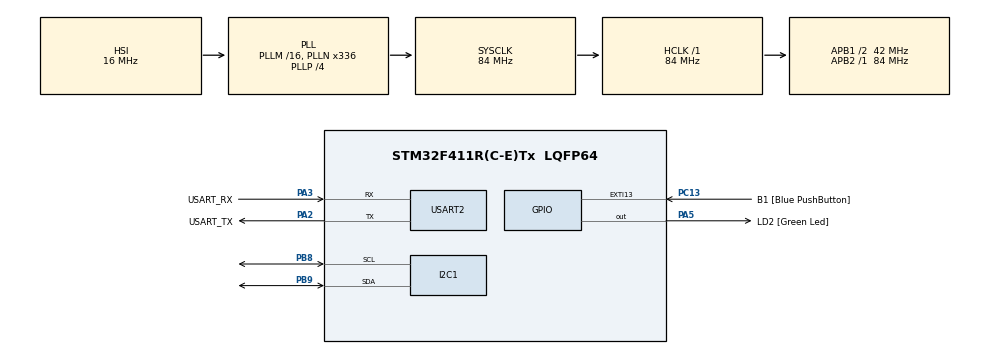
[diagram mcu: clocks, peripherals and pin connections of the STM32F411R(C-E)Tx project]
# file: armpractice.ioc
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Mcu.Family=STM32F4
Mcu.Name=STM32F411R(C-E)Tx
Mcu.Package=LQFP64
NVIC.PriorityGroup=NVIC_PRIORITYGROUP_0
PA13.GPIO_Label=TMS
PA13.Mode=Serial_Wire
PA13.Signal=SYS_JTMS-SWDIO
PA14.GPIO_Label=TCK
PA14.Mode=Serial_Wire
PA14.Signal=SYS_JTCK-SWCLK
PA2.GPIO_Label=USART_TX
PA2.Mode=Asynchronous
PA2.Signal=USART2_TX
PA3.GPIO_Label=USART_RX
PA3.Mode=Asynchronous
PA3.Signal=USART2_RX
PA5.GPIO_Label=LD2 [Green Led]
PA5.Signal=GPIO_Output
PB3.GPIO_Label=SWO
PB3.Signal=SYS_JTDO-SWO
PB8.Mode=I2C
PB8.Signal=I2C1_SCL
PB9.Mode=I2C
PB9.Signal=I2C1_SDA
PC13-ANTI_TAMP.GPIO_Label=B1 [Blue PushButton]
PC13-ANTI_TAMP.GPIO_ModeDefaultEXTI=GPIO_MODE_IT_FALLING
PC13-ANTI_TAMP.Signal=GPXTI13
PC14-OSC32_IN.Mode=LSE-External-Oscillator
PC14-OSC32_IN.Signal=RCC_OSC32_IN
PC15-OSC32_OUT.Mode=LSE-External-Oscillator
PC15-OSC32_OUT.Signal=RCC_OSC32_OUT
PH0\ -\ OSC_IN.Mode=HSE-External-Clock-Source
PH0\ -\ OSC_IN.Signal=RCC_OSC_IN
PH1\ -\ OSC_OUT.Mode=HSE-External-Clock-Source
PH1\ -\ OSC_OUT.Signal=RCC_OSC_OUT
ProjectManager.HeapSize=0x200
ProjectManager.StackSize=0x400
ProjectManager.TargetToolchain=Makefile
RCC.48MHZClocksFreq_Value=84000000
RCC.AHBFreq_Value=84000000
RCC.APB1CLKDivider=RCC_HCLK_DIV2
RCC.APB1Freq_Value=42000000
RCC.APB1TimFreq_Value=84000000
RCC.APB2Freq_Value=84000000
RCC.APB2TimFreq_Value=84000000
RCC.CortexFreq_Value=84000000
RCC.FLatency-AdvancedSettings=FLASH_LATENCY_2
RCC.HCLKFreq_Value=84000000
RCC.HSE_VALUE=8000000
RCC.HSI_VALUE=16000000
RCC.PLLN=336
RCC.PLLP=RCC_PLLP_DIV4
RCC.SYSCLKFreq_VALUE=84000000
RCC.SYSCLKSource=RCC_SYSCLKSOURCE_PLLCLK
RCC.VCOOutputFreq_Value=336000000
USART2.VirtualMode=VM_ASYNC
board=NUCLEO-F411RE

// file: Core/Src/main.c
/* USER CODE BEGIN Header */
/**
  ******************************************************************************
  * @file           : main.c
  * @brief          : Main program body
  ******************************************************************************
  * @attention
  *
  * Copyright (c) 2026 STMicroelectronics.
  * All rights reserved.
  *
  * This software is licensed under terms that can be found in the LICENSE file
  * in the root directory of this software component.
  * If no LICENSE file comes with this software, it is provided AS-IS.
  *
  ******************************************************************************
  */
/* USER CODE END Header */
#include "main.h"
#include "i2c.h"
#include "usart.h"
#include "gpio.h"
#include "stdbool.h"
#include "ssd1306.h"
#include "ssd1306_font.h"

void SystemClock_Config(void);

int main(void)
{

  /* MCU Configuration--------------------------------------------------------*/

  /* Reset of all peripherals, Initializes the Flash interface and the Systick. */
  HAL_Init();

  /* Configure the system clock */
  SystemClock_Config();

  /* Initialize all configured peripherals */
  MX_GPIO_Init();
  MX_USART2_UART_Init();
  MX_I2C1_Init();
  /* USER CODE BEGIN 2 */

  SSD1306_Init();
  HAL_Delay(50);
  SSD1306_Fill(0);

  // 테스트용 코드
  // SSD1306_DrawVLine(10, 0, 10, 1);
  // SSD1306_DrawFilledRect(0, 0, 30, 30, 1);
  // SSD1306_DrawRect(50, 30, 50, 10, 1);
  // SSD1306_DrawPixel(32, 10, 1);
  // SSD1306_DrawLine(0, 0, 127, 63, 1);
  SSD1306_SetCursor(0, 0);
  SSD1306_WriteString("Hello, World!\n", 1);
  SSD1306_WriteString("다람쥐 헌 쳇바퀴에 타고파\n", 1);
  SSD1306_UpdateScreen();
  /* USER CODE END 2 */

  /* Infinite loop */
  /* USER CODE BEGIN WHILE */

int Button = 0;
int prevButton = GPIO_PIN_SET;
bool ledState = false;

while (1)
  {
    Button = HAL_GPIO_ReadPin(B1_GPIO_Port, B1_Pin);

    if(prevButton == GPIO_PIN_SET && Button == GPIO_PIN_RESET) {
      ledState = !ledState;

      HAL_GPIO_WritePin(LD2_GPIO_Port, LD2_Pin, ledState ? GPIO_PIN_SET : GPIO_PIN_RESET);

      HAL_Delay(50);  // 디바운싱
    }

    prevButton = Button;
    /* USER CODE END WHILE */

}
}

void SystemClock_Config(void)
{
  RCC_OscInitTypeDef RCC_OscInitStruct = {0};
  RCC_ClkInitTypeDef RCC_ClkInitStruct = {0};

  /** Configure the main internal regulator output voltage
  */
  __HAL_RCC_PWR_CLK_ENABLE();
  __HAL_PWR_VOLTAGESCALING_CONFIG(PWR_REGULATOR_VOLTAGE_SCALE1);

  /** Initializes the RCC Oscillators according to the specified parameters
  * in the RCC_OscInitTypeDef structure.
  */
  RCC_OscInitStruct.OscillatorType = RCC_OSCILLATORTYPE_HSI;
  RCC_OscInitStruct.HSIState = RCC_HSI_ON;
  RCC_OscInitStruct.HSICalibrationValue = RCC_HSICALIBRATION_DEFAULT;
  RCC_OscInitStruct.PLL.PLLState = RCC_PLL_ON;
  RCC_OscInitStruct.PLL.PLLSource = RCC_PLLSOURCE_HSI;
  RCC_OscInitStruct.PLL.PLLM = 16;
  RCC_OscInitStruct.PLL.PLLN = 336;
  RCC_OscInitStruct.PLL.PLLP = RCC_PLLP_DIV4;
  RCC_OscInitStruct.PLL.PLLQ = 4;
  if (HAL_RCC_OscConfig(&RCC_OscInitStruct) != HAL_OK)
  {
    Error_Handler();
  }

  /** Initializes the CPU, AHB and APB buses clocks
  */
  RCC_ClkInitStruct.ClockType = RCC_CLOCKTYPE_HCLK|RCC_CLOCKTYPE_SYSCLK
                              |RCC_CLOCKTYPE_PCLK1|RCC_CLOCKTYPE_PCLK2;
  RCC_ClkInitStruct.SYSCLKSource = RCC_SYSCLKSOURCE_PLLCLK;
  RCC_ClkInitStruct.AHBCLKDivider = RCC_SYSCLK_DIV1;
  RCC_ClkInitStruct.APB1CLKDivider = RCC_HCLK_DIV2;
  RCC_ClkInitStruct.APB2CLKDivider = RCC_HCLK_DIV1;

  if (HAL_RCC_ClockConfig(&RCC_ClkInitStruct, FLASH_LATENCY_2) != HAL_OK)
  {
    Error_Handler();
  }
}

/* USER CODE BEGIN 4 */
int _write(int file, char *ptr, int len)
{
  // UART2를 통해 데이터 전송 (타임아웃은 최대값으로 설정)
  HAL_UART_Transmit(&huart2, (uint8_t*)ptr, len, HAL_MAX_DELAY);
  return len;
}
/* USER CODE END 4 */

void Error_Handler(void)
{
  __disable_irq();
  while (1)
  {
  }
}
